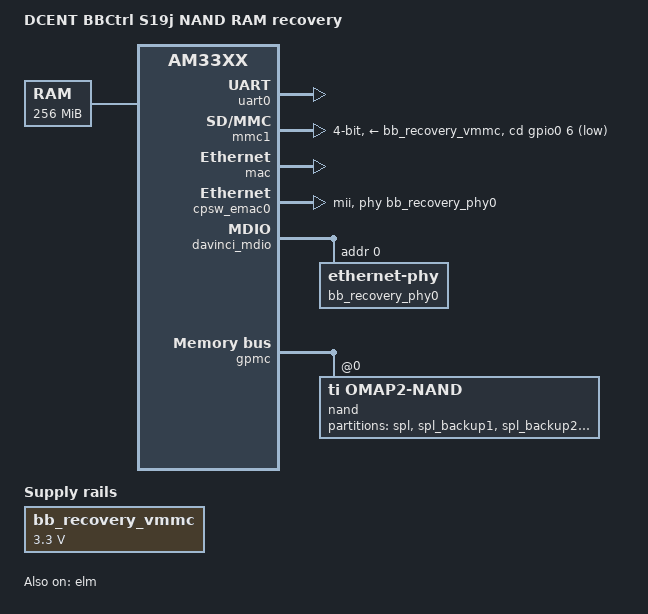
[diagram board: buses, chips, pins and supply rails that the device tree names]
// SPDX-License-Identifier: GPL-2.0-only
// Dedicated RAM recovery topology, not the LuxOS S19J_IO mining DTB.
// Physical source: BBCtrl-20210622 devicetree.dtb SHA25603926d8f...6232361.
// Linux5.4 am33xx.dtsi supplies current clock/interrupt/controller bindings.
/dts-v1/;
#include "am33xx.dtsi"

/ {
    model = "DCENT BBCtrl S19j NAND RAM recovery";
    compatible = "ti,am335x-bone", "ti,am33xx";
    chosen { stdout-path = "serial0:115200n8"; };
    aliases { mmc0 = &mmc1; serial0 = &uart0; ethernet0 = &cpsw_emac0; };
    memory@80000000 { device_type = "memory"; reg = <0x80000000 0x10000000>; };
    bb_recovery_vmmc: regulator-vmmc {
        compatible = "regulator-fixed";
        regulator-name = "vmmcsd_fixed";
        regulator-min-microvolt = <3300000>;
        regulator-max-microvolt = <3300000>;
    };
};

&am33xx_pinmux {
    bb_recovery_nand: bb-recovery-nand {
        // Verbatim donor NAND pad cells. Replace its stale numeric phandle
        // with this direct reference; no donor reset/LED clients are copied.
        pinctrl-single,pins = <
            0x00 0x30 0x04 0x30 0x08 0x30 0x0c 0x30
            0x10 0x30 0x14 0x30 0x18 0x30 0x1c 0x30
            0x70 0x30 0x74 0x37 0x7c 0x08 0x90 0x08
            0x94 0x08 0x98 0x08 0x9c 0x08
        >;
    };
    bb_recovery_mmc: bb-recovery-mmc {
        // Donor card detect plus upstream AM335x MMC0 native signal pads.
        pinctrl-single,pins = <
            0x160 0x2f
            AM33XX_PADCONF(AM335X_PIN_MMC0_DAT0, PIN_INPUT_PULLUP, MUX_MODE0)
            AM33XX_PADCONF(AM335X_PIN_MMC0_DAT1, PIN_INPUT_PULLUP, MUX_MODE0)
            AM33XX_PADCONF(AM335X_PIN_MMC0_DAT2, PIN_INPUT_PULLUP, MUX_MODE0)
            AM33XX_PADCONF(AM335X_PIN_MMC0_DAT3, PIN_INPUT_PULLUP, MUX_MODE0)
            AM33XX_PADCONF(AM335X_PIN_MMC0_CMD, PIN_INPUT_PULLUP, MUX_MODE0)
            AM33XX_PADCONF(AM335X_PIN_MMC0_CLK, PIN_INPUT_PULLUP, MUX_MODE0)
        >;
    };
    bb_recovery_uart: bb-recovery-uart {
        pinctrl-single,pins = <
            AM33XX_PADCONF(AM335X_PIN_UART0_RXD, PIN_INPUT_PULLUP, MUX_MODE0)
            AM33XX_PADCONF(AM335X_PIN_UART0_TXD, PIN_OUTPUT_PULLDOWN, MUX_MODE0)
        >;
    };
    bb_recovery_mii: bb-recovery-mii {
        // Same MII PHY0 topology as donor; pad definitions from Linux5.4
        // am335x-bone-common.dtsi. No second Ethernet slave is enabled.
        pinctrl-single,pins = <
            AM33XX_PADCONF(AM335X_PIN_MII1_RX_ER, PIN_INPUT_PULLUP, MUX_MODE0)
            AM33XX_PADCONF(AM335X_PIN_MII1_TX_EN, PIN_OUTPUT_PULLDOWN, MUX_MODE0)
            AM33XX_PADCONF(AM335X_PIN_MII1_RX_DV, PIN_INPUT_PULLUP, MUX_MODE0)
            AM33XX_PADCONF(AM335X_PIN_MII1_TXD3, PIN_OUTPUT_PULLDOWN, MUX_MODE0)
            AM33XX_PADCONF(AM335X_PIN_MII1_TXD2, PIN_OUTPUT_PULLDOWN, MUX_MODE0)
            AM33XX_PADCONF(AM335X_PIN_MII1_TXD1, PIN_OUTPUT_PULLDOWN, MUX_MODE0)
            AM33XX_PADCONF(AM335X_PIN_MII1_TXD0, PIN_OUTPUT_PULLDOWN, MUX_MODE0)
            AM33XX_PADCONF(AM335X_PIN_MII1_TX_CLK, PIN_INPUT_PULLUP, MUX_MODE0)
            AM33XX_PADCONF(AM335X_PIN_MII1_RX_CLK, PIN_INPUT_PULLUP, MUX_MODE0)
            AM33XX_PADCONF(AM335X_PIN_MII1_RXD3, PIN_INPUT_PULLUP, MUX_MODE0)
            AM33XX_PADCONF(AM335X_PIN_MII1_RXD2, PIN_INPUT_PULLUP, MUX_MODE0)
            AM33XX_PADCONF(AM335X_PIN_MII1_RXD1, PIN_INPUT_PULLUP, MUX_MODE0)
            AM33XX_PADCONF(AM335X_PIN_MII1_RXD0, PIN_INPUT_PULLUP, MUX_MODE0)
        >;
    };
    bb_recovery_mdio: bb-recovery-mdio {
        pinctrl-single,pins = <
            AM33XX_PADCONF(AM335X_PIN_MDIO, PIN_INPUT_PULLUP | SLEWCTRL_FAST, MUX_MODE0)
            AM33XX_PADCONF(AM335X_PIN_MDC, PIN_OUTPUT_PULLUP, MUX_MODE0)
        >;
    };
};

&uart0 { status = "okay"; pinctrl-names = "default"; pinctrl-0 = <&bb_recovery_uart>; };
&uart1 { status = "disabled"; };
&uart2 { status = "disabled"; };
&uart3 { status = "disabled"; };
&uart4 { status = "disabled"; };
&uart5 { status = "disabled"; };
&mmc1 {
    status = "okay";
    bus-width = <4>;
    pinctrl-names = "default";
    pinctrl-0 = <&bb_recovery_mmc>;
    cd-gpios = <&gpio0 6 GPIO_ACTIVE_HIGH>;
    cd-inverted;
    vmmc-supply = <&bb_recovery_vmmc>;
};
&mmc2 { status = "disabled"; };
&mmc3 { status = "disabled"; };
&mac { status = "okay"; slaves = <1>; pinctrl-names = "default"; pinctrl-0 = <&bb_recovery_mii>; };
&cpsw_emac0 { phy-handle = <&bb_recovery_phy0>; phy-mode = "mii"; };
&davinci_mdio {
    status = "okay";
    pinctrl-names = "default";
    pinctrl-0 = <&bb_recovery_mdio>;
    bus_freq = <1000000>;
    bb_recovery_phy0: ethernet-phy@0 { reg = <0>; };
};
&elm { status = "okay"; };
&gpmc {
    status = "okay";
    reg = <0x50000000 0x01000000>;
    ranges = <0 0 0x08000000 0x10000000>;
    pinctrl-names = "default";
    pinctrl-0 = <&bb_recovery_nand>;
    nand@0,0 {
        compatible = "ti,omap2-nand";
        gpmc,device-nand;
        reg = <0 0 0>;
        nand-bus-width = <8>;
        gpmc,device-width = <1>;
        gpmc,sync-clk-ps = <0>;
        gpmc,cs-on-ns = <0>;
        gpmc,cs-rd-off-ns = <280>;
        gpmc,cs-wr-off-ns = <280>;
        gpmc,adv-on-ns = <50>;
        gpmc,adv-rd-off-ns = <280>;
        gpmc,adv-wr-off-ns = <280>;
        gpmc,we-on-ns = <50>;
        gpmc,we-off-ns = <200>;
        gpmc,oe-on-ns = <50>;
        gpmc,oe-off-ns = <150>;
        gpmc,access-ns = <200>;
        gpmc,rd-cycle-ns = <300>;
        gpmc,wr-cycle-ns = <300>;
        gpmc,wait-on-read;
        gpmc,wait-on-write;
        gpmc,wait-pin = <0>;
        gpmc,bus-turnaround-ns = <0>;
        gpmc,cycle2cycle-delay-ns = <120>;
        gpmc,cycle2cycle-samecsen;
        gpmc,clk-activation-ns = <0>;
        gpmc,wait-monitoring-ns = <0>;
        gpmc,wr-access-ns = <40>;
        gpmc,wr-data-mux-bus-ns = <0>;
        ti,nand-ecc-opt = "bch8";
        ti,elm-id = <&elm>;
        #address-cells = <1>;
        #size-cells = <1>;
        partition@0 { label = "spl"; reg = <0x0 0x20000>; read-only; };
        partition@1 { label = "spl_backup1"; reg = <0x20000 0x20000>; read-only; };
        partition@2 { label = "spl_backup2"; reg = <0x40000 0x20000>; read-only; };
        partition@3 { label = "spl_backup3"; reg = <0x60000 0x20000>; read-only; };
        partition@4 { label = "u-boot"; reg = <0x80000 0x1c0000>; read-only; };
        partition@5 { label = "bootenv"; reg = <0x240000 0x20000>; };
        partition@6 { label = "fdt"; reg = <0x260000 0x20000>; read-only; };
        partition@7 { label = "kernel"; reg = <0x280000 0x500000>; read-only; };
        partition@8 { label = "root"; reg = <0x800000 0x1400000>; read-only; };
        partition@9 { label = "config"; reg = <0x1c00000 0x200000>; read-only; };
        partition@a { label = "sig"; reg = <0x1e00000 0x200000>; read-only; };
        partition@b { label = "nvdata"; reg = <0x2000000 0x6000000>; };
    };
};
